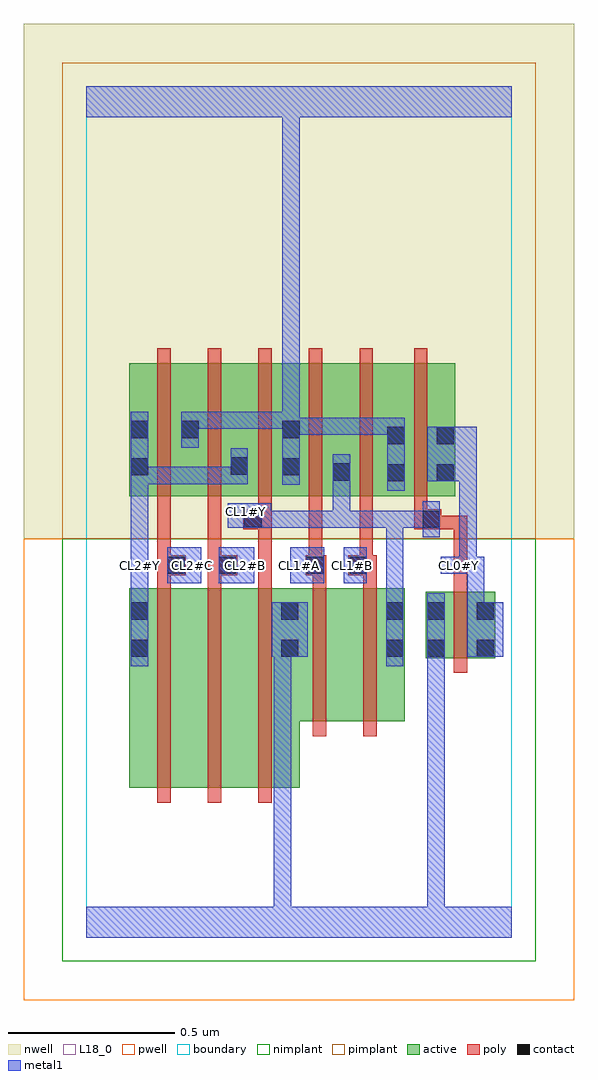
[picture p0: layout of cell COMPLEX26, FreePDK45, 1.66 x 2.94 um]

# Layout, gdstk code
import gdstk
lib = gdstk.Library(unit=1e-6, precision=1e-09)
def R(c, l, rs):  # rectangles x0, y0, x1, y1
    for r in rs: c.add(gdstk.rectangle(r[:2], r[2:], *l))
def A(c, l, x, y, w, h, nx, ny, dx, dy):  # array of equal rectangles
    R(c, l, [(x+i*dx, y+j*dy, x+i*dx+w, y+j*dy+h) for i in range(nx) for j in range(ny)])
active = (1, 0)
pwell = (2, 0)
nwell = (3, 0)
nimplant = (4, 0)
pimplant = (5, 0)
poly = (9, 0)
contact = (10, 0)
metal1 = (11, 0)
L18_0 = (18, 0)
boundary = (235, 0)

complex26 = lib.new_cell('COMPLEX26')
R(complex26, active, [(0.13,0.45,0.31,1.05), (0.31,0.45,0.462,1.05), (0.462,0.45,0.642,1.05), (0.13,0.556,0.19,1.05), (0.582,0.65,0.778,1.05), (0.778,0.65,0.958,1.05), (0.582,0.756,0.642,1.012), (0.898,0.756,0.958,1.05), (1.022,0.84,1.082,1.04), (1.022,0.84,1.23,1.04), (1.17,0.84,1.23,1.04), (0.13,1.328,0.19,1.644), (0.13,1.328,0.342,1.728), (0.282,1.328,0.342,1.644), (0.282,1.328,0.49,1.728), (0.43,1.328,0.49,1.644), (0.43,1.328,0.646,1.728), (0.586,1.328,0.646,1.644), (0.586,1.328,0.798,1.728), (0.738,1.328,0.798,1.644), (0.738,1.328,0.962,1.728), (0.902,1.328,0.962,1.644), (0.902,1.328,1.11,1.728), (1.05,1.328,1.11,1.644)])
R(complex26, pwell, [(-0.188,-0.188,1.468,1.2)])
R(complex26, nwell, [(-0.188,1.2,1.468,2.748)])
R(complex26, nimplant, [(-0.072,-0.072,1.352,1.2)])
R(complex26, pimplant, [(-0.072,1.2,1.352,2.632)])
A(complex26, poly, 0.214, 0.406, 0.04, 0.688, 3, 1, 0.152, 0)
A(complex26, poly, 0.214, 1.284, 0.04, 0.488, 5, 1, 0.152, 0)
R(complex26, poly, [(0.682,0.606,0.722,1.094), (0.834,0.606,0.874,1.094), (1.106,0.796,1.146,1.084), (1.106,1.044,1.146,1.268), (0.214,1.054,0.254,1.13), (0.366,1.054,0.406,1.13), (0.518,1.054,0.558,1.268), (0.682,1.054,0.722,1.13), (0.834,1.054,0.874,1.13), (0.214,1.09,0.3,1.15), (0.366,1.09,0.454,1.15), (0.66,1.09,0.722,1.15), (0.788,1.09,0.874,1.15), (0.214,1.11,0.254,1.15), (0.214,1.11,0.254,1.15), (0.214,1.11,0.254,1.324), (0.366,1.11,0.406,1.15), (0.366,1.11,0.406,1.15), (0.366,1.11,0.406,1.324), (0.67,1.11,0.71,1.15), (0.67,1.11,0.71,1.15), (0.67,1.11,0.71,1.324), (0.822,1.11,0.862,1.15), (0.822,1.11,0.862,1.15), (0.822,1.11,0.862,1.324), (0.472,1.228,0.558,1.288), (0.518,1.228,0.558,1.268), (0.518,1.228,0.558,1.268), (0.986,1.228,1.068,1.288), (1.028,1.228,1.068,1.268), (1.028,1.228,1.146,1.268), (0.518,1.248,0.558,1.324), (0.986,1.248,1.026,1.324), (0.986,1.284,1.026,1.772)])
R(complex26, contact, [(0.134,0.844,0.186,0.896), (0.586,0.844,0.638,0.896), (0.902,0.844,0.954,0.896), (1.026,0.844,1.078,0.896), (1.174,0.844,1.226,0.896), (0.134,0.956,0.186,1.008), (0.586,0.956,0.638,1.008), (0.902,0.956,0.954,1.008), (1.026,0.956,1.078,1.008), (1.174,0.956,1.226,1.008), (0.244,1.094,0.296,1.146), (0.398,1.094,0.45,1.146), (0.664,1.094,0.716,1.146), (0.792,1.094,0.844,1.146), (0.476,1.232,0.528,1.284), (1.012,1.232,1.064,1.284), (0.906,1.372,0.958,1.424), (1.054,1.372,1.106,1.424), (0.742,1.374,0.794,1.426), (0.134,1.39,0.186,1.442), (0.59,1.39,0.642,1.442), (0.434,1.392,0.486,1.444), (0.906,1.484,0.958,1.536), (1.054,1.484,1.106,1.536), (0.134,1.502,0.186,1.554), (0.286,1.502,0.338,1.554), (0.59,1.502,0.642,1.554)])
R(complex26, metal1, [(0,0,1.28,0.092), (0.564,0.04,0.616,0.092), (0.564,0.04,0.616,0.092), (0.564,0.04,0.616,0.092), (0.564,0.04,0.616,0.092), (0.564,0.04,0.616,0.896), (1.026,0.04,1.078,0.092), (1.026,0.04,1.078,0.092), (1.026,0.04,1.078,0.092), (1.026,0.04,1.078,0.092), (1.026,0.04,1.078,0.092), (1.026,0.04,1.078,0.092), (1.026,0.04,1.078,0.868), (0.134,0.816,0.186,1.036), (0.902,0.816,0.954,1.036), (1.026,0.816,1.078,0.868), (1.026,0.816,1.078,0.868), (1.026,0.816,1.078,0.868), (1.026,0.816,1.078,0.868), (1.026,0.816,1.078,0.868), (1.026,0.816,1.078,0.868), (1.026,0.816,1.078,0.868), (1.026,0.816,1.078,0.868), (1.026,0.816,1.078,0.868), (1.026,0.816,1.078,0.868), (1.026,0.816,1.078,1.036), (0.558,0.844,0.666,1.008), (0.564,0.844,0.616,0.896), (0.564,0.844,0.616,0.896), (0.564,0.844,0.616,0.896), (0.564,0.844,0.616,0.896), (1.146,0.844,1.254,1.008), (1.146,0.956,1.198,1.146), (0.134,0.984,0.186,1.118), (0.902,0.984,0.954,1.036), (0.902,0.984,0.954,1.036), (0.902,0.984,0.954,1.284), (0.134,1.066,0.186,1.174), (0.244,1.066,0.346,1.174), (0.398,1.066,0.506,1.174), (0.614,1.066,0.716,1.174), (0.774,1.066,0.844,1.174), (1.066,1.094,1.198,1.146), (1.122,1.094,1.174,1.424), (0.134,1.122,0.186,1.174), (0.134,1.122,0.186,1.174), (0.134,1.122,0.186,1.414), (1.012,1.204,1.064,1.312), (0.426,1.232,0.556,1.306), (0.504,1.232,0.684,1.284), (0.632,1.232,0.684,1.284), (0.632,1.232,0.684,1.284), (0.632,1.232,0.684,1.284), (0.632,1.232,0.794,1.284), (0.742,1.232,0.794,1.284), (0.742,1.232,0.794,1.284), (0.742,1.232,0.794,1.284), (0.742,1.232,0.954,1.284), (0.742,1.232,0.794,1.398), (0.902,1.232,0.954,1.284), (0.902,1.232,0.954,1.284), (0.902,1.232,0.954,1.284), (0.902,1.232,1.064,1.284), (0.906,1.344,0.958,1.564), (0.742,1.346,0.794,1.454), (0.134,1.362,0.186,1.582), (0.59,1.362,0.642,1.582), (0.134,1.364,0.186,1.416), (0.134,1.364,0.186,1.416), (0.134,1.364,0.34,1.416), (0.288,1.364,0.34,1.416), (0.288,1.364,0.34,1.416), (0.288,1.364,0.34,1.416), (0.288,1.364,0.486,1.416), (0.434,1.364,0.486,1.472), (1.026,1.372,1.174,1.536), (1.122,1.372,1.174,1.424), (1.122,1.372,1.174,1.424), (0.286,1.474,0.338,1.582), (0.59,1.512,0.684,1.564), (0.632,1.512,0.684,1.564), (0.632,1.512,0.844,1.564), (0.792,1.512,0.844,1.564), (0.792,1.512,0.844,1.564), (0.792,1.512,0.844,1.564), (0.792,1.512,0.958,1.564), (0.286,1.53,0.338,1.582), (0.286,1.53,0.338,1.582), (0.286,1.53,0.456,1.582), (0.404,1.53,0.456,1.582), (0.404,1.53,0.456,1.582), (0.404,1.53,0.456,1.582), (0.404,1.53,0.642,1.582), (0.59,1.53,0.642,1.582), (0.59,1.53,0.642,1.582), (0.59,1.53,0.642,1.582), (0.59,1.53,0.642,1.582), (0.59,1.53,0.642,1.582), (0.59,1.53,0.642,1.582), (0.59,1.53,0.642,1.582), (0.59,1.53,0.642,1.582), (0.59,1.53,0.642,1.582), (0.59,1.53,0.642,1.582), (0.59,1.53,0.642,1.582), (0.59,1.53,0.642,1.582), (0.59,1.53,0.642,1.582), (0.59,1.53,0.642,1.582), (0.59,1.53,0.642,1.582), (0.59,1.53,0.642,1.582), (0.59,1.53,0.642,2.52), (0,2.468,1.28,2.56)])
A(complex26, L18_0, 0.134, 1.094, 0.052, 0.052, 5, 1, 0.16, 0)
R(complex26, L18_0, [(0,0,1.28,0.092), (0.564,0.04,0.616,0.092), (0.564,0.04,0.616,0.092), (0.564,0.04,0.616,0.092), (0.564,0.04,0.616,0.092), (0.564,0.04,0.616,0.896), (1.026,0.04,1.078,0.092), (1.026,0.04,1.078,0.092), (1.026,0.04,1.078,0.092), (1.026,0.04,1.078,0.092), (1.026,0.04,1.078,0.092), (1.026,0.04,1.078,0.092), (1.026,0.04,1.078,0.868), (0.134,0.816,0.186,1.036), (0.902,0.816,0.954,1.036), (1.026,0.816,1.078,1.036), (1.026,0.816,1.078,0.868), (1.026,0.816,1.078,0.868), (1.026,0.816,1.078,0.868), (1.026,0.816,1.078,0.868), (1.026,0.816,1.078,0.868), (1.026,0.816,1.078,0.868), (1.026,0.816,1.078,0.868), (1.026,0.816,1.078,0.868), (1.026,0.816,1.078,0.868), (1.026,0.816,1.078,0.868), (0.558,0.844,0.666,1.008), (0.564,0.844,0.616,0.896), (0.564,0.844,0.616,0.896), (0.564,0.844,0.616,0.896), (0.564,0.844,0.616,0.896), (1.146,0.844,1.254,1.008), (1.146,0.956,1.198,1.146), (0.134,0.984,0.186,1.118), (0.902,0.984,0.954,1.036), (0.902,0.984,0.954,1.036), (0.902,0.984,0.954,1.284), (0.134,1.066,0.186,1.174), (0.244,1.066,0.346,1.174), (0.398,1.066,0.506,1.174), (0.614,1.066,0.716,1.174), (0.774,1.066,0.844,1.174), (1.066,1.094,1.198,1.146), (1.094,1.094,1.146,1.146), (1.122,1.094,1.174,1.424), (0.134,1.122,0.186,1.174), (0.134,1.122,0.186,1.174), (0.134,1.122,0.186,1.414), (1.012,1.204,1.064,1.312), (0.426,1.232,0.556,1.306), (0.504,1.232,0.684,1.284), (0.632,1.232,0.684,1.284), (0.632,1.232,0.684,1.284), (0.632,1.232,0.684,1.284), (0.632,1.232,0.794,1.284), (0.742,1.232,0.794,1.284), (0.742,1.232,0.794,1.284), (0.742,1.232,0.794,1.284), (0.742,1.232,0.794,1.398), (0.742,1.232,0.954,1.284), (0.902,1.232,0.954,1.284), (0.902,1.232,0.954,1.284), (0.902,1.232,0.954,1.284), (0.902,1.232,1.064,1.284), (0.454,1.254,0.506,1.306), (0.906,1.344,0.958,1.564), (0.742,1.346,0.794,1.454), (0.134,1.362,0.186,1.582), (0.59,1.362,0.642,1.582), (0.134,1.364,0.186,1.416), (0.134,1.364,0.186,1.416), (0.134,1.364,0.34,1.416), (0.288,1.364,0.34,1.416), (0.288,1.364,0.34,1.416), (0.288,1.364,0.34,1.416), (0.288,1.364,0.486,1.416), (0.434,1.364,0.486,1.472), (1.026,1.372,1.174,1.536), (1.122,1.372,1.174,1.424), (1.122,1.372,1.174,1.424), (0.286,1.474,0.338,1.582), (0.59,1.512,0.684,1.564), (0.632,1.512,0.684,1.564), (0.632,1.512,0.844,1.564), (0.792,1.512,0.844,1.564), (0.792,1.512,0.844,1.564), (0.792,1.512,0.844,1.564), (0.792,1.512,0.958,1.564), (0.286,1.53,0.338,1.582), (0.286,1.53,0.338,1.582), (0.286,1.53,0.456,1.582), (0.404,1.53,0.456,1.582), (0.404,1.53,0.456,1.582), (0.404,1.53,0.456,1.582), (0.404,1.53,0.642,1.582), (0.59,1.53,0.642,1.582), (0.59,1.53,0.642,1.582), (0.59,1.53,0.642,1.582), (0.59,1.53,0.642,1.582), (0.59,1.53,0.642,1.582), (0.59,1.53,0.642,1.582), (0.59,1.53,0.642,1.582), (0.59,1.53,0.642,1.582), (0.59,1.53,0.642,1.582), (0.59,1.53,0.642,1.582), (0.59,1.53,0.642,1.582), (0.59,1.53,0.642,1.582), (0.59,1.53,0.642,1.582), (0.59,1.53,0.642,1.582), (0.59,1.53,0.642,1.582), (0.59,1.53,0.642,1.582), (0.59,1.53,0.642,2.52), (0,2.468,1.28,2.56)])
R(complex26, boundary, [(0,0,1.28,2.56)])
complex26.add(gdstk.Label('CL0#Y', (1.12,1.12), layer=11, texttype=0))
complex26.add(gdstk.Label('CL1#A', (0.64,1.12), layer=11, texttype=0))
complex26.add(gdstk.Label('CL1#B', (0.8,1.12), layer=11, texttype=0))
complex26.add(gdstk.Label('CL1#Y', (0.48,1.28), layer=11, texttype=0))
complex26.add(gdstk.Label('CL2#B', (0.48,1.12), layer=11, texttype=0))
complex26.add(gdstk.Label('CL2#C', (0.32,1.12), layer=11, texttype=0))
complex26.add(gdstk.Label('CL2#Y', (0.16,1.12), layer=11, texttype=0))

lib.write_gds('COMPLEX26.gds')
